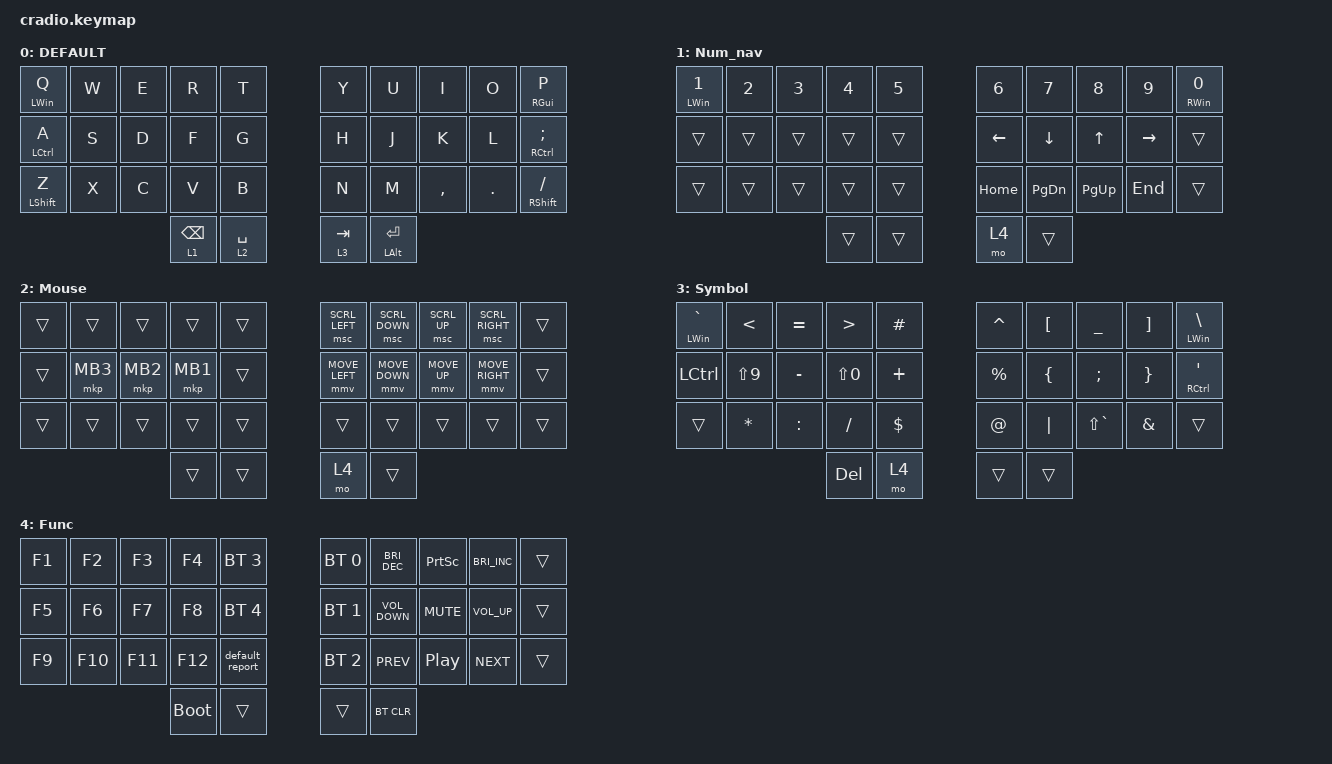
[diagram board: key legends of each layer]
// Copyright (c) 2022 The ZMK Contributors
// SPDX-License-Identifier: MIT

#define ZMK_POINTING_DEFAULT_MOVE_VAL 2500  // 600
#define ZMK_POINTING_DEFAULT_SCRL_VAL 20    // 10

#include <behaviors.dtsi>
#include <dt-bindings/zmk/bt.h>
#include <dt-bindings/zmk/keys.h>
#include <dt-bindings/zmk/pointing.h>

#define MAC 0
#define WIN 1
#define RIG 2
#define LEF 3
#define TRI 4
#define MOUSE 5

&lt {
    quick-tap-ms = <200>;
    flavor = "tap-preferred";
    require-prior-idle-ms = <150>;
    tapping-term-ms = <180>;
};

/ {
    chosen { zmk,charmap = &charmap_us; };

    behaviors {
        ht: hold_tap {
            label = "hold_tap";
            compatible = "zmk,behavior-hold-tap";
            #binding-cells = <2>;
            flavor = "balanced";
            tapping-term-ms = <180>;
            quick-tap-ms = <150>;
            bindings = <&kp>, <&kp>;

            require-prior-idle-ms = <125>;
        };

        mmv {
            acceleration-exponent = <1>;      // 1
            time-to-max-speed-ms = <1000>;    // 40
            delay-ms = <0>;                   // 0
        };

        msc {
            acceleration-exponent = <0>;      // 0
            time-to-max-speed-ms = <40>;      // 500
            delay-ms = <0>;                   // 10
        };
    };

    conditional_layers {
        compatible = "zmk,conditional-layers";

        tri_layer {
            if-layers = <2 2>;
            then-layer = <2>;
        };
    };

    combos {
        compatible = "zmk,combos";

        escape {
            bindings = <&kp GRAVE>;
            key-positions = <1 0>;
        };

        open_square {
            bindings = <&kp RIGHT_BRACKET>;
            key-positions = <9 8>;
        };

        quote {
            bindings = <&kp SQT>;
            key-positions = <18 19>;
        };

        close_square {
            bindings = <&kp LEFT_BRACKET>;
            key-positions = <8 7>;
        };

        esc {
            bindings = <&kp ESCAPE>;
            key-positions = <2 1>;
        };

        switch_lang {
            bindings = <&kp LG(SPACE)>;
            key-positions = <0 31>;
        };

        win+tab {
            bindings = <&kp RG(TAB)>;
            key-positions = <9 32>;
        };

        Caps_on_double_shift {
            bindings = <&kp CAPSLOCK>;
            key-positions = <29 20>;
        };
    };

    keymap {
        compatible = "zmk,keymap";

        Default {
            display-name = "DEFAULT";
            bindings = <
&ht LEFT_WIN Q    &kp W  &kp E  &kp R            &kp T          &kp Y      &kp U               &kp I      &kp O    &ht RIGHT_GUI P
&ht LCTRL A       &kp S  &kp D  &kp F            &kp G          &kp H      &kp J               &kp K      &kp L    &ht RIGHT_CONTROL SEMICOLON
&ht LEFT_SHIFT Z  &kp X  &kp C  &kp V            &kp B          &kp N      &kp M               &kp COMMA  &kp DOT  &ht RIGHT_SHIFT SLASH
                                &lt 1 BACKSPACE  &lt 2 SPACE    &lt 3 TAB  &ht LEFT_ALT ENTER
            >;
        };

        Num_nav {
            bindings = <
&ht LEFT_WIN N1  &kp N2  &kp N3  &kp N4  &kp N5    &kp N6    &kp N7          &kp N8        &kp N9     &ht RIGHT_WIN N0
&trans           &trans  &trans  &trans  &trans    &kp LEFT  &kp DOWN_ARROW  &kp UP_ARROW  &kp RIGHT  &trans
&trans           &trans  &trans  &trans  &trans    &kp HOME  &kp PAGE_DOWN   &kp PAGE_UP   &kp END    &trans
                                 &trans  &trans    &mo 4     &trans
            >;
        };

        Mouse {
            display-name = "Mouse";
            bindings = <
&trans  &trans    &trans    &trans    &trans    &msc SCRL_LEFT  &msc SCRL_DOWN  &msc SCRL_UP  &msc SCRL_RIGHT  &trans
&trans  &mkp MB3  &mkp MB2  &mkp MB1  &trans    &mmv MOVE_LEFT  &mmv MOVE_DOWN  &mmv MOVE_UP  &mmv MOVE_RIGHT  &trans
&trans  &trans    &trans    &trans    &trans    &trans          &trans          &trans        &trans           &trans
                            &trans    &trans    &mo 4           &trans
            >;
        };

        Symbol {
            bindings = <
&mt LEFT_WIN GRAVE  &kp LESS_THAN  &kp EQUAL  &kp GREATER_THAN  &kp HASH      &kp CARET    &kp LEFT_BRACKET  &kp UNDER      &kp RBKT         &mt LEFT_WIN BSLH
&kp LCTRL           &kp LS(N9)     &kp MINUS  &kp LS(N0)        &kp PLUS      &kp PERCENT  &kp LEFT_BRACE    &kp SEMI       &kp RIGHT_BRACE  &mt RCTRL SQT
&trans              &kp ASTRK      &kp COLON  &kp FSLH          &kp DOLLAR    &kp AT       &kp PIPE          &kp LS(GRAVE)  &kp AMPERSAND    &trans
                                              &kp DELETE        &mo 4         &trans       &trans
            >;
        };

        Func {
            bindings = <
&kp F1  &kp F2   &kp F3   &kp F4       &bt BT_SEL 3       &bt BT_SEL 0  &kp C_BRIGHTNESS_DEC  &kp PRINTSCREEN   &kp C_BRIGHTNESS_INC  &trans
&kp F5  &kp F6   &kp F7   &kp F8       &bt BT_SEL 4       &bt BT_SEL 1  &kp C_VOLUME_DOWN     &kp C_MUTE        &kp C_VOLUME_UP       &trans
&kp F9  &kp F10  &kp F11  &kp F12      &default_report    &bt BT_SEL 2  &kp C_PREV            &kp C_PLAY_PAUSE  &kp C_NEXT            &trans
                          &bootloader  &trans             &trans        &bt BT_CLR
            >;
        };
    };
};
